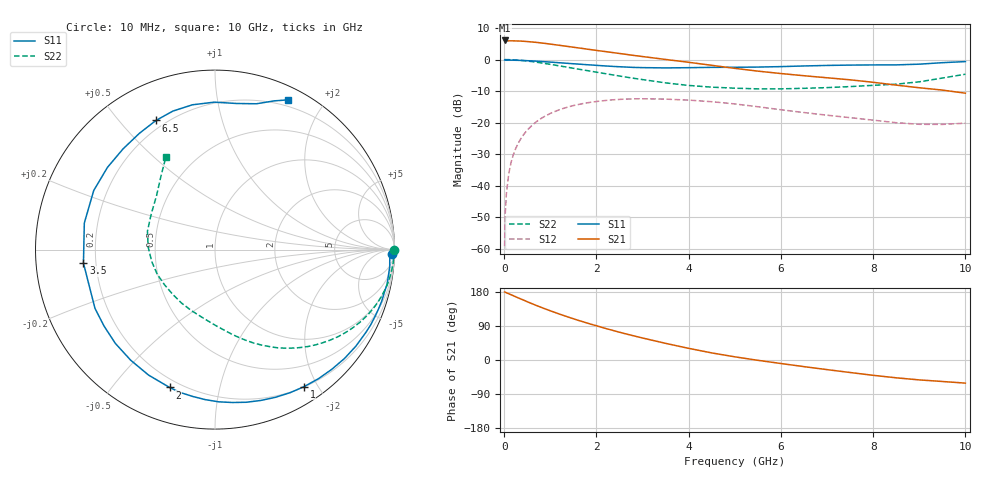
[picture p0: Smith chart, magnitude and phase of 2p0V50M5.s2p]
! (c) 2009  Infineon Technologies AG, Munich
! Infineon Technologies  Discrete & RF Semiconductors
! BFP420
! VCE =  0.5 V,  IC =  0.5 mA
! Common Emitter S-Parameters:  Nov 2009
# GHz  S  MA  R  50
!  f  S11  S21  S12  S22
! GHz  MAG  ANG  MAG  ANG  MAG  ANG  MAG  ANG
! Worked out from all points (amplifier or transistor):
!   46 points, 10 MHz to 10 GHz, reference 50 ohm
!   highest |S21| = 6.1 dB at 10 MHz (marker M1)
!   |S21| within 3 dB of that: start of sweep to 1.926 GHz
!   unconditionally stable (mu >= 1): 4.398 GHz to end of sweep
!   at 300 MHz: K = 0.03, MSG = 16.3 dB, |S12| = -26.7 dB
!   at 1.7 GHz: K = 0.34, MSG = 8.7 dB, |S12| = -14.0 dB
!   at 10 GHz: K = 1.49, MAG = 0.6 dB, |S12| = -20.2 dB
!   lowest NFmin = 0.68 dB at 900 MHz
!   S11 on the Smith chart (normalised r, x): 10 MHz: 34, -64; 1 GHz: 0.20, -1.83; 2 GHz: 0.16, -0.71; 3.5 GHz: 0.15, -0.05; 6.5 GHz: 0.16, +0.63; 10 GHz: 0.13, +1.59
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0.01  0.9872 -1.4  2.007 179.4  0.0011 75.0  0.9972 -0.2
0.02  0.9803 -1.1  1.96 179.4  0.0032 90.1  0.9973 -0.7
0.05  0.975 -2.9  1.969 177.4  0.0077 88.3  0.9973 -2.0
0.1  0.9783 -5.7  1.979 174.9  0.0155 86.2  0.9957 -4.0
0.2  0.9778 -11.4  1.98 169.6  0.031 82.2  0.9889 -7.9
0.35  0.969 -20.1  1.963 161.7  0.0539 76.3  0.9718 -13.6
0.5  0.9592 -28.6  1.929 153.8  0.0759 70.3  0.9471 -19.2
0.7  0.9425 -40.1  1.871 143.8  0.1036 62.5  0.9069 -26.1
1  0.9107 -56.9  1.759 129.9  0.1397 51.4  0.8387 -35.4
1.3  0.8784 -73.1  1.642 117.0  0.1696 41.3  0.7712 -43.5
1.7  0.8375 -93.8  1.499 101.2  0.2 28.9  0.6872 -53.0
2  0.8087 -108.2  1.395 90.4  0.2162 20.3  0.6313 -59.4
2.6  0.7625 -136.7  1.22 70.1  0.2354 4.4  0.533 -71.3
3  0.7446 -153.9  1.116 58.1  0.2389 -5.0  0.481 -78.7
3.5  0.7368 -174.1  1.003 43.9  0.2357 -15.8  0.4269 -88.6
4  0.743 168.5  0.905 30.8  0.2274 -25.1  0.3883 -99.3
4.5  0.7516 154.0  0.81 18.7  0.2146 -33.8  0.3651 -110.7
5.5  0.7598 132.4  0.655 -0.8  0.1786 -47.0  0.343 -133.4
6.5  0.7911 114.6  0.554 -17.5  0.1444 -53.8  0.3499 -157.2
7  0.8066 106.9  0.514 -25.4  0.1311 -55.1  0.3588 -169.4
8.5  0.8229 81.6  0.393 -47.0  0.0997 -53.0  0.4068 150.9
10  0.9282 64.0  0.293 -61.0  0.098 -38.9  0.5854 117.8
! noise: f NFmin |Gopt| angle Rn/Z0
0.9  0.68  0.78  35  0.65
1.8  1.42  0.6  75  0.5
2.4  1.57  0.58  98  0.37
3  2.1  0.58  128  0.24
4  2.49  0.57  177  0.09
